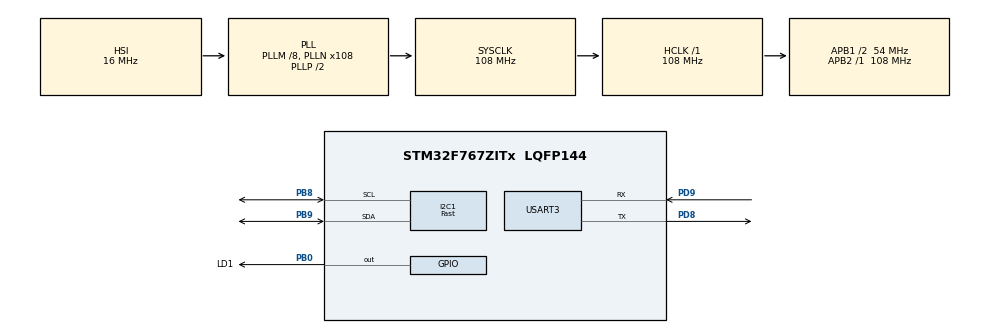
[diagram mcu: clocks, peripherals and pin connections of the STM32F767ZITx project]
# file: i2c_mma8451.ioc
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I2C1.I2C_Speed_Mode=I2C_Fast
I2C1.Timing=0x6000030D
Mcu.Family=STM32F7
Mcu.Name=STM32F767ZITx
Mcu.Package=LQFP144
NVIC.PriorityGroup=NVIC_PRIORITYGROUP_4
PB0.GPIO_Label=LD1
PB0.Signal=GPIO_Output
PB8.Mode=I2C
PB8.Signal=I2C1_SCL
PB9.Mode=I2C
PB9.Signal=I2C1_SDA
PD8.Mode=Asynchronous
PD8.Signal=USART3_TX
PD9.Mode=Asynchronous
PD9.Signal=USART3_RX
PH0/OSC_IN.Mode=HSE-External-Oscillator
PH0/OSC_IN.Signal=RCC_OSC_IN
PH1/OSC_OUT.Mode=HSE-External-Oscillator
PH1/OSC_OUT.Signal=RCC_OSC_OUT
ProjectManager.HeapSize=0x200
ProjectManager.StackSize=0x400
ProjectManager.TargetToolchain=STM32CubeIDE
RCC.48MHZClocksFreq_Value=24000000
RCC.AHBFreq_Value=108000000
RCC.APB1CLKDivider=RCC_HCLK_DIV2
RCC.APB1Freq_Value=54000000
RCC.APB1TimFreq_Value=108000000
RCC.APB2Freq_Value=108000000
RCC.APB2TimFreq_Value=108000000
RCC.CortexFreq_Value=108000000
RCC.HCLKFreq_Value=108000000
RCC.HSE_VALUE=8000000
RCC.HSI_VALUE=16000000
RCC.LSE_VALUE=32768
RCC.PLLM=8
RCC.PLLMUL=RCC_PLL_MUL9
RCC.PLLN=108
RCC.PRESCALERUSB=RCC_USBCLKSOURCE_PLL_DIV1_5
RCC.SYSCLKFreq_VALUE=108000000
RCC.SYSCLKSource=RCC_SYSCLKSOURCE_PLLCLK
RCC.SYSCLKSourceVirtual=RCC_SYSCLKSOURCE_PLLCLK
RCC.USBFreq_Value=108000000
RCC.VCOOutputFreq_Value=216000000
USART3.VirtualMode-Asynchronous=VM_ASYNC
board=NUCLEO-F767ZI

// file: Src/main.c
/* USER CODE BEGIN Header */
/**
  ******************************************************************************
  * @file           : main.c
  * @brief          : Main program body
  ******************************************************************************
  * @attention
  *
  * Copyright (c) 2025 STMicroelectronics.
  * All rights reserved.
  *
  * This software is licensed under terms that can be found in the LICENSE file
  * in the root directory of this software component.
  * If no LICENSE file comes with this software, it is provided AS-IS.
  *
  ******************************************************************************
  */
/* USER CODE END Header */
#include "main.h"

/* USER CODE BEGIN Includes */
#include<stdio.h>
#include<string.h>
/* USER CODE END Includes */

I2C_HandleTypeDef hi2c1;

UART_HandleTypeDef huart3;

/* USER CODE BEGIN PV */
#define MMA8451_ADDRESS (0x1D << 1) // 8-bit I2C Slave Address (0x3A)
#define MMA8451_WHO_AM_I_REG 0x0D // WHO_AM_I Register: expected value 0x1A
#define MMA8451_CTRL_REG1 0x2A // Control Register 1
#define MMA8451_XYZ_DATA_CFG 0x0E // Data Configuration Register
#define MMA8451_OUT_X_MSB 0x01 // First data register for X-axis MSB

int16_t Accel_X, Accel_Y, Accel_Z; // 14-bit data will fit in 16-bit signed integer
uint8_t RxData[6]; // Buffer to store X, Y, Z data (2 bytes per axis)
char TxBuffer[100]; // Buffer for UART output
/* USER CODE END PV */

void SystemClock_Config(void);
static void MX_GPIO_Init(void);
static void MX_I2C1_Init(void);
static void MX_USART3_UART_Init(void);
/* USER CODE BEGIN PFP */
void MMA8451_Init(void);

/* USER CODE END PFP */

int main(void)
{

  /* MCU Configuration--------------------------------------------------------*/

  /* Reset of all peripherals, Initializes the Flash interface and the Systick. */
  HAL_Init();

  /* Configure the system clock */
  SystemClock_Config();

  /* Initialize all configured peripherals */
  MX_GPIO_Init();
  MX_I2C1_Init();
  MX_USART3_UART_Init();
  /* USER CODE BEGIN 2 */
  // Initialize the MMA8451
  MMA8451_Init();

  // Optional: Check WHO_AM_I register to confirm communication is working
  uint8_t who_am_i;
  HAL_I2C_Mem_Read(&hi2c1, MMA8451_ADDRESS, MMA8451_WHO_AM_I_REG, 1, &who_am_i, 1, HAL_MAX_DELAY);
  if (who_am_i == 0x1A) {
      // Communication established! Toggle LED to confirm.
      HAL_GPIO_TogglePin(LD1_GPIO_Port, LD1_Pin);
  }

  /* USER CODE END 2 */

  /* Infinite loop */
  while (1)
  {

    /* USER CODE BEGIN 3 */
    // 1. Read 6 bytes of acceleration data (X MSB, X LSB, Y MSB, Y LSB, Z MSB, Z LSB)
    // Start reading from OUT_X_MSB (0x01)
    HAL_I2C_Mem_Read(&hi2c1, MMA8451_ADDRESS, MMA8451_OUT_X_MSB, 1, RxData, 6, HAL_MAX_DELAY);

    // 2. Process the 14-bit data. The data is Left-Justified.
    // We need to shift the MSB left by 8 and combine with the LSB, then right-shift by 2 to align.
    Accel_X = (int16_t)((RxData[0] << 8) | RxData[1]) >> 2;
    Accel_Y = (int16_t)((RxData[2] << 8) | RxData[3]) >> 2;
    Accel_Z = (int16_t)((RxData[4] << 8) | RxData[5]) >> 2;

    // 2. Conversion to g-force values (in g's)
    // Define constants for the conversion (2g range / 8192 counts)
    #define ACCEL_RANGE_G 2.0f
    #define ACCEL_MAX_RAW 8192.0f

    // Declare these float variables outside the loop (in Private variables section)
    float Accel_X_g, Accel_Y_g, Accel_Z_g;

    Accel_X_g = ((float)Accel_X / ACCEL_MAX_RAW) * ACCEL_RANGE_G; // e.g., Raw/8192 * 2g
    Accel_Y_g = ((float)Accel_Y / ACCEL_MAX_RAW) * ACCEL_RANGE_G;
    Accel_Z_g = ((float)Accel_Z / ACCEL_MAX_RAW) * ACCEL_RANGE_G;

    // 3. Convert raw values to human-readable string (using standard library function)
    // The raw 14-bit value corresponds to acceleration in g's.
    // Raw Value * (2g / 8192) will give acceleration in g's.
    int len = sprintf(TxBuffer, "X: %d, Y: %d, Z: %d\r\n", Accel_X, Accel_Y, Accel_Z);
    HAL_UART_Transmit(&huart3, (uint8_t *)TxBuffer, len, HAL_MAX_DELAY);

    // 4. Convert to g values
    int len2 = sprintf(TxBuffer, "X: %.2f, Y: %.2f, Z: %.2f\r\n", Accel_X_g, Accel_Y_g, Accel_Z_g);
    HAL_UART_Transmit(&huart3, (uint8_t *)TxBuffer, len2, HAL_MAX_DELAY);

    // 5. Wait for half a second before sending the next message
    HAL_Delay(500);
  }
  /* USER CODE END 3 */
}

void SystemClock_Config(void)
{
  RCC_OscInitTypeDef RCC_OscInitStruct = {0};
  RCC_ClkInitTypeDef RCC_ClkInitStruct = {0};

  /** Configure the main internal regulator output voltage
  */
  __HAL_RCC_PWR_CLK_ENABLE();
  __HAL_PWR_VOLTAGESCALING_CONFIG(PWR_REGULATOR_VOLTAGE_SCALE3);

  /** Initializes the RCC Oscillators according to the specified parameters
  * in the RCC_OscInitTypeDef structure.
  */
  RCC_OscInitStruct.OscillatorType = RCC_OSCILLATORTYPE_HSI;
  RCC_OscInitStruct.HSIState = RCC_HSI_ON;
  RCC_OscInitStruct.HSICalibrationValue = RCC_HSICALIBRATION_DEFAULT;
  RCC_OscInitStruct.PLL.PLLState = RCC_PLL_ON;
  RCC_OscInitStruct.PLL.PLLSource = RCC_PLLSOURCE_HSI;
  RCC_OscInitStruct.PLL.PLLM = 8;
  RCC_OscInitStruct.PLL.PLLN = 108;
  RCC_OscInitStruct.PLL.PLLP = RCC_PLLP_DIV2;
  RCC_OscInitStruct.PLL.PLLQ = 2;
  RCC_OscInitStruct.PLL.PLLR = 2;
  if (HAL_RCC_OscConfig(&RCC_OscInitStruct) != HAL_OK)
  {
    Error_Handler();
  }

  /** Activate the Over-Drive mode
  */
  if (HAL_PWREx_EnableOverDrive() != HAL_OK)
  {
    Error_Handler();
  }

  /** Initializes the CPU, AHB and APB buses clocks
  */
  RCC_ClkInitStruct.ClockType = RCC_CLOCKTYPE_HCLK|RCC_CLOCKTYPE_SYSCLK
                              |RCC_CLOCKTYPE_PCLK1|RCC_CLOCKTYPE_PCLK2;
  RCC_ClkInitStruct.SYSCLKSource = RCC_SYSCLKSOURCE_PLLCLK;
  RCC_ClkInitStruct.AHBCLKDivider = RCC_SYSCLK_DIV1;
  RCC_ClkInitStruct.APB1CLKDivider = RCC_HCLK_DIV2;
  RCC_ClkInitStruct.APB2CLKDivider = RCC_HCLK_DIV1;

  if (HAL_RCC_ClockConfig(&RCC_ClkInitStruct, FLASH_LATENCY_3) != HAL_OK)
  {
    Error_Handler();
  }
}

static void MX_I2C1_Init(void)
{

  hi2c1.Instance = I2C1;
  hi2c1.Init.Timing = 0x6000030D;
  hi2c1.Init.OwnAddress1 = 0;
  hi2c1.Init.AddressingMode = I2C_ADDRESSINGMODE_7BIT;
  hi2c1.Init.DualAddressMode = I2C_DUALADDRESS_DISABLE;
  hi2c1.Init.OwnAddress2 = 0;
  hi2c1.Init.OwnAddress2Masks = I2C_OA2_NOMASK;
  hi2c1.Init.GeneralCallMode = I2C_GENERALCALL_DISABLE;
  hi2c1.Init.NoStretchMode = I2C_NOSTRETCH_DISABLE;
  if (HAL_I2C_Init(&hi2c1) != HAL_OK)
  {
    Error_Handler();
  }

  /** Configure Analogue filter
  */
  if (HAL_I2CEx_ConfigAnalogFilter(&hi2c1, I2C_ANALOGFILTER_ENABLE) != HAL_OK)
  {
    Error_Handler();
  }

  /** Configure Digital filter
  */
  if (HAL_I2CEx_ConfigDigitalFilter(&hi2c1, 0) != HAL_OK)
  {
    Error_Handler();
  }

}

static void MX_USART3_UART_Init(void)
{

  huart3.Instance = USART3;
  huart3.Init.BaudRate = 115200;
  huart3.Init.WordLength = UART_WORDLENGTH_8B;
  huart3.Init.StopBits = UART_STOPBITS_1;
  huart3.Init.Parity = UART_PARITY_NONE;
  huart3.Init.Mode = UART_MODE_TX_RX;
  huart3.Init.HwFlowCtl = UART_HWCONTROL_NONE;
  huart3.Init.OverSampling = UART_OVERSAMPLING_16;
  huart3.Init.OneBitSampling = UART_ONE_BIT_SAMPLE_DISABLE;
  huart3.AdvancedInit.AdvFeatureInit = UART_ADVFEATURE_NO_INIT;
  if (HAL_UART_Init(&huart3) != HAL_OK)
  {
    Error_Handler();
  }

}

static void MX_GPIO_Init(void)
{
  GPIO_InitTypeDef GPIO_InitStruct = {0};

  /* GPIO Ports Clock Enable */
  __HAL_RCC_GPIOH_CLK_ENABLE();
  __HAL_RCC_GPIOB_CLK_ENABLE();
  __HAL_RCC_GPIOD_CLK_ENABLE();

  /*Configure GPIO pin Output Level */
  HAL_GPIO_WritePin(LD1_GPIO_Port, LD1_Pin, GPIO_PIN_RESET);

  /*Configure GPIO pin : LD1_Pin */
  GPIO_InitStruct.Pin = LD1_Pin;
  GPIO_InitStruct.Mode = GPIO_MODE_OUTPUT_PP;
  GPIO_InitStruct.Pull = GPIO_NOPULL;
  GPIO_InitStruct.Speed = GPIO_SPEED_FREQ_LOW;
  HAL_GPIO_Init(LD1_GPIO_Port, &GPIO_InitStruct);

}

/* USER CODE BEGIN 4 */
void MMA8451_Init(void)
{
    uint8_t Data;
    // 1. Standby Mode: Clear Active bit (Bit 0) in CTRL_REG1
    Data = 0x00;
    HAL_I2C_Mem_Write(&hi2c1, MMA8451_ADDRESS, MMA8451_CTRL_REG1, 1, &Data, 1, HAL_MAX_DELAY);

    // 2. Configure: Set Scale (2g range) in XYZ_DATA_CFG
    Data = 0x00; // Full Scale 2g (bits Fs1:Fs0 = 00)
    HAL_I2C_Mem_Write(&hi2c1, MMA8451_ADDRESS, MMA8451_XYZ_DATA_CFG, 1, &Data, 1, HAL_MAX_DELAY);

    // 3. Active Mode: Set Active bit (Bit 0) in CTRL_REG1
    Data = 0x01; // ODR=800Hz (default), Active Mode (Bit 0 = 1)
    HAL_I2C_Mem_Write(&hi2c1, MMA8451_ADDRESS, MMA8451_CTRL_REG1, 1, &Data, 1, HAL_MAX_DELAY);
}

/* USER CODE END 4 */

void Error_Handler(void)
{
  __disable_irq();
  while (1)
  {
  }
}
